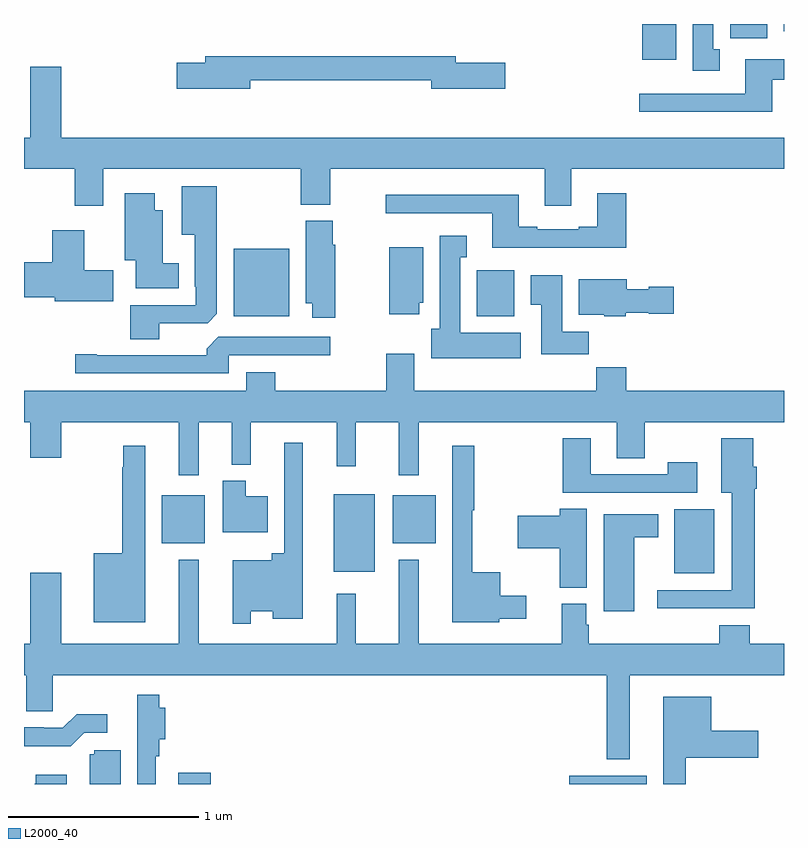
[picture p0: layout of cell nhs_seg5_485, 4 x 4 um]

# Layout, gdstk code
import gdstk
lib = gdstk.Library(unit=1e-6, precision=1e-09)
def R(c, l, rs):  # rectangles x0, y0, x1, y1
    for r in rs: c.add(gdstk.rectangle(r[:2], r[2:], *l))
def P(c, l, *ps):  # polygons
    for p in ps: c.add(gdstk.Polygon(p, *l))
L2000_40 = (2000, 40)

nhs_seg5_485 = lib.new_cell('nhs_seg5_485')
R(nhs_seg5_485, L2000_40, [(141.812,910.799,141.983,910.858), (143.871,910.799,144.277,910.843), (144.422,911.909,144.634,912.244), (142.631,911.915,142.846,912.325), (141.725,912.065,141.952,912.319), (142.94,912.065,143.167,912.319), (142.103,913.262,142.396,913.615), (143.384,913.262,143.581,913.504), (144.254,914.612,144.433,914.799), (144.717,914.724,144.913,914.799), (144.998,914.76,145,914.799)])
P(nhs_seg5_485, L2000_40, [(144.661,914.665),(144.628,914.665),(144.628,914.799),(144.521,914.799),(144.521,914.553),(144.661,914.553)],
  [(142.192,914.502),(143.144,914.502),(143.144,914.459),(143.533,914.459),(143.533,914.594),(143.272,914.594),(143.272,914.63),(141.953,914.63),(141.953,914.594),(141.804,914.594),(141.804,914.459),(142.192,914.459)],
  [(144.937,914.505),(145,914.505),(145,914.614),(144.797,914.614),(144.797,914.433),(144.237,914.433),(144.237,914.336),(144.937,914.336)],
  [(141.196,914.575),(141.032,914.575),(141.032,914.2),(141,914.2),(141,914.036),(141.266,914.036),(141.266,913.842),(141.418,913.842),(141.418,914.036),(142.456,914.036),(142.456,913.849),(142.611,913.849),(142.611,914.036),(143.741,914.036),(143.741,913.842),(143.881,913.842),(143.881,914.036),(145,914.036),(145,914.2),(141.196,914.2)],
  [(141.712,913.224),(141.966,913.224),(142.015,913.273),(142.015,913.945),(141.83,913.945),(141.83,913.691),(141.899,913.691),(141.899,913.417),(141.903,913.417),(141.903,913.32),(141.56,913.32),(141.56,913.141),(141.712,913.141)],
  [(144.17,913.909),(144.017,913.909),(144.017,913.732),(143.921,913.732),(143.921,913.719),(143.701,913.719),(143.701,913.732),(143.605,913.732),(143.605,913.9),(142.905,913.9),(142.905,913.803),(143.465,913.803),(143.465,913.622),(144.17,913.622)],
  [(141.814,913.54),(141.73,913.54),(141.73,913.819),(141.688,913.819),(141.688,913.909),(141.53,913.909),(141.53,913.556),(141.587,913.556),(141.587,913.409),(141.814,913.409)],
  [(142.639,913.638),(142.626,913.638),(142.626,913.764),(142.484,913.764),(142.484,913.328),(142.517,913.328),(142.517,913.254),(142.639,913.254)],
  [(141.469,913.503),(141.316,913.503),(141.316,913.714),(141.149,913.714),(141.149,913.544),(141,913.544),(141,913.361),(141.161,913.361),(141.161,913.34),(141.469,913.34)],
  [(143.614,913.174),(143.296,913.174),(143.296,913.571),(143.329,913.571),(143.329,913.684),(143.189,913.684),(143.189,913.194),(143.144,913.194),(143.144,913.04),(143.614,913.04)],
  [(143.08,913.332),(143.101,913.332),(143.101,913.624),(142.922,913.624),(142.922,913.272),(143.08,913.272)],
  [(143.972,913.18),(143.833,913.18),(143.833,913.477),(143.666,913.477),(143.666,913.321),(143.723,913.321),(143.723,913.062),(143.972,913.062)],
  [(144.168,913.28),(144.288,913.28),(144.288,913.273),(144.421,913.273),(144.421,913.415),(144.288,913.415),(144.288,913.402),(144.172,913.402),(144.172,913.456),(143.921,913.456),(143.921,913.268),(144.054,913.268),(144.054,913.262),(144.168,913.262)],
  [(142.077,913.056),(142.612,913.056),(142.612,913.152),(142.023,913.152),(141.962,913.09),(141.962,913.056),(141.382,913.056),(141.382,913.061),(141.27,913.061),(141.27,912.96),(142.077,912.96)],
  [(141,912.704),(141.032,912.704),(141.032,912.516),(141.196,912.516),(141.196,912.704),(141.815,912.704),(141.815,912.423),(141.919,912.423),(141.919,912.704),(142.094,912.704),(142.094,912.479),(142.193,912.479),(142.193,912.704),(142.646,912.704),(142.646,912.471),(142.746,912.471),(142.746,912.704),(142.973,912.704),(142.973,912.423),(143.077,912.423),(143.077,912.704),(144.119,912.704),(144.119,912.514),(144.267,912.514),(144.267,912.704),(145,912.704),(145,912.868),(144.17,912.868),(144.17,912.992),(144.013,912.992),(144.013,912.868),(143.053,912.868),(143.053,913.063),(142.906,913.063),(142.906,912.868),(142.322,912.868),(142.322,912.967),(142.169,912.967),(142.169,912.868),(141,912.868)],
  [(144.846,912.354),(144.856,912.354),(144.856,912.468),(144.838,912.468),(144.838,912.619),(144.671,912.619),(144.671,912.332),(144.725,912.332),(144.725,911.82),(144.333,911.82),(144.333,911.723),(144.846,911.723)],
  [(144.544,912.493),(144.388,912.493),(144.388,912.429),(143.983,912.429),(143.983,912.619),(143.836,912.619),(143.836,912.333),(144.544,912.333)],
  [(142.194,911.708),(142.31,911.708),(142.31,911.669),(142.468,911.669),(142.468,912.595),(142.371,912.595),(142.371,912.013),(142.303,912.013),(142.303,911.977),(142.098,911.977),(142.098,911.643),(142.194,911.643)],
  [(141.637,912.58),(141.523,912.58),(141.523,912.467),(141.516,912.467),(141.516,912.013),(141.368,912.013),(141.368,911.651),(141.637,911.651)],
  [(143.502,911.669),(143.644,911.669),(143.644,911.791),(143.506,911.791),(143.506,911.914),(143.359,911.914),(143.359,912.239),(143.369,912.239),(143.369,912.58),(143.255,912.58),(143.255,911.651),(143.502,911.651)],
  [(142.282,912.313),(142.168,912.313),(142.168,912.394),(142.046,912.394),(142.046,912.125),(142.282,912.125)],
  [(143.962,912.248),(143.821,912.248),(143.821,912.212),(143.598,912.212),(143.598,912.041),(143.821,912.041),(143.821,911.833),(143.962,911.833)],
  [(144.211,912.098),(144.337,912.098),(144.337,912.22),(144.05,912.22),(144.05,911.708),(144.211,911.708)],
  [(141.15,911.372),(144.066,911.372),(144.066,910.928),(144.187,910.928),(144.187,911.372),(145,911.372),(145,911.536),(144.819,911.536),(144.819,911.635),(144.659,911.635),(144.659,911.536),(143.972,911.536),(143.972,911.637),(143.959,911.637),(143.959,911.748),(143.831,911.748),(143.831,911.536),(143.077,911.536),(143.077,911.98),(142.973,911.98),(142.973,911.536),(142.746,911.536),(142.746,911.8),(142.646,911.8),(142.646,911.536),(141.919,911.536),(141.919,911.98),(141.815,911.98),(141.815,911.536),(141.196,911.536),(141.196,911.911),(141.032,911.911),(141.032,911.536),(141,911.536),(141,911.372),(141.011,911.372),(141.011,911.182),(141.15,911.182)],
  [(141.693,910.946),(141.713,910.946),(141.713,911.035),(141.743,911.035),(141.743,911.2),(141.713,911.2),(141.713,911.269),(141.596,911.269),(141.596,911.046),(141.597,911.046),(141.597,910.799),(141.693,910.799)],
  [(144.484,910.937),(144.865,910.937),(144.865,911.079),(144.616,911.079),(144.616,911.257),(144.365,911.257),(144.365,910.799),(144.484,910.799)],
  [(141.318,911.07),(141.439,911.07),(141.439,911.167),(141.277,911.167),(141.204,911.094),(141.104,911.094),(141.104,911.097),(141,911.097),(141,910.998),(141.245,910.998)],
  [(141.508,910.977),(141.369,910.977),(141.369,910.956),(141.347,910.956),(141.347,910.799),(141.508,910.799)],
  [(141.226,910.849),(141.062,910.849),(141.062,910.8),(141.057,910.8),(141.057,910.799),(141.226,910.799)])

lib.write_gds('nhs_seg5_485.gds')
